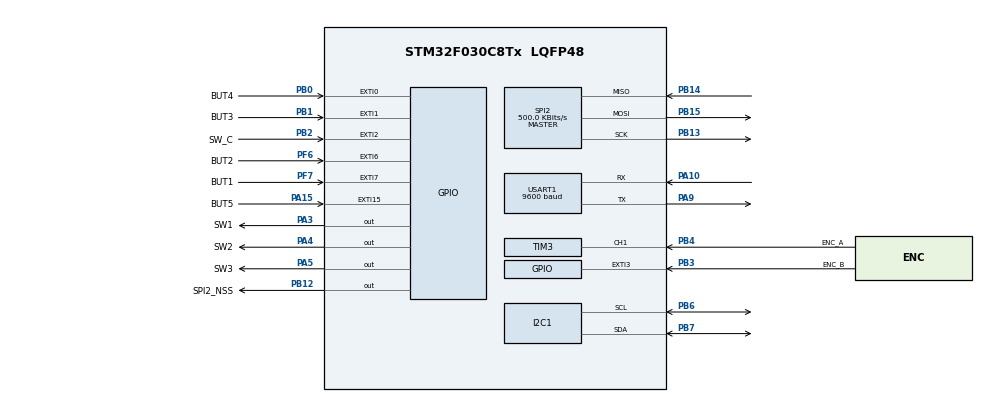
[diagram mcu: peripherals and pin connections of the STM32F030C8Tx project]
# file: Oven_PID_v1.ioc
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I2C1.I2C_Rise_Time=800
I2C1.Speed=50
I2C1.Timing=0x00801D76
Mcu.Family=STM32F0
Mcu.Name=STM32F030C8Tx
Mcu.Package=LQFP48
NVIC.EXTI0_1_IRQn=true\:0\:0\:false\:false\:true\:true\:true\:true
NVIC.EXTI2_3_IRQn=true\:0\:0\:false\:false\:true\:true\:true\:true
NVIC.EXTI4_15_IRQn=true\:0\:0\:false\:false\:true\:true\:true\:true
NVIC.RTC_IRQn=true\:0\:0\:false\:false\:true\:true\:true\:true
NVIC.TIM3_IRQn=true\:0\:0\:false\:false\:true\:true\:true\:true
NVIC.USART1_IRQn=true\:0\:0\:false\:false\:true\:true\:true\:true
PA10.Mode=Asynchronous
PA10.Signal=USART1_RX
PA13.Mode=Serial_Wire
PA13.Signal=SYS_SWDIO
PA14.Mode=Serial_Wire
PA14.Signal=SYS_SWCLK
PA15.GPIO_Label=BUT5
PA15.Signal=GPXTI15
PA3.GPIO_Label=SW1
PA3.Signal=GPIO_Output
PA4.GPIO_Label=SW2
PA4.Signal=GPIO_Output
PA5.GPIO_Label=SW3
PA5.Signal=GPIO_Output
PA9.Mode=Asynchronous
PA9.Signal=USART1_TX
PB0.GPIO_Label=BUT4
PB0.Signal=GPXTI0
PB1.GPIO_Label=BUT3
PB1.Signal=GPXTI1
PB12.GPIO_Label=SPI2_NSS
PB12.Signal=GPIO_Output
PB13.Mode=Full_Duplex_Master
PB13.Signal=SPI2_SCK
PB14.Mode=Full_Duplex_Master
PB14.Signal=SPI2_MISO
PB15.Mode=Full_Duplex_Master
PB15.Signal=SPI2_MOSI
PB2.GPIO_Label=SW_C
PB2.GPIO_ModeDefaultEXTI=GPIO_MODE_IT_RISING_FALLING
PB2.GPIO_PuPd=GPIO_PULLDOWN
PB2.Signal=GPXTI2
PB3.GPIO_Label=ENC_B
PB3.Signal=GPXTI3
PB4.GPIO_Label=ENC_A
PB4.Signal=S_TIM3_CH1
PB6.Mode=I2C
PB6.Signal=I2C1_SCL
PB7.Mode=I2C
PB7.Signal=I2C1_SDA
PC14-OSC32_IN.Mode=LSE-External-Oscillator
PC14-OSC32_IN.Signal=RCC_OSC32_IN
PC15-OSC32_OUT.Mode=LSE-External-Oscillator
PC15-OSC32_OUT.Signal=RCC_OSC32_OUT
PF6.GPIO_Label=BUT2
PF6.Signal=GPXTI6
PF7.GPIO_Label=BUT1
PF7.Signal=GPXTI7
ProjectManager.HeapSize=0x200
ProjectManager.StackSize=0x400
ProjectManager.TargetToolchain=CMake
RTC.Alarm-Alarm\ A=RTC_ALARM_A
RTC.AlarmMaskDateWeekDay-Alarm\ A=RTC_ALARMMASK_DATEWEEKDAY
RTC.AlarmMaskHours-Alarm\ A=RTC_ALARMMASK_HOURS
RTC.AlarmMaskMinutes-Alarm\ A=RTC_ALARMMASK_MINUTES
RTC.AlarmMaskSeconds-Alarm\ A=RTC_ALARMMASK_SECONDS
RTC.Format=RTC_FORMAT_BIN
RTC.Seconds_A-Alarm\ A=2
SH.S_TIM3_CH1.0=TIM3_CH1,Input_Capture1_from_TI1
SPI2.BaudRatePrescaler=SPI_BAUDRATEPRESCALER_16
SPI2.CalculateBaudRate=500.0 KBits/s
SPI2.DataSize=SPI_DATASIZE_8BIT
SPI2.Direction=SPI_DIRECTION_2LINES
SPI2.Mode=SPI_MODE_MASTER
SPI2.TIMode=SPI_TIMODE_DISABLE
SPI2.VirtualType=VM_MASTER
TIM3.Channel-Input_Capture1_from_TI1=TIM_CHANNEL_1
TIM3.CounterMode=TIM_COUNTERMODE_UP
TIM3.ICFilter_CH1=11
TIM3.ICPolarity_CH1=TIM_INPUTCHANNELPOLARITY_BOTHEDGE
USART1.AutoBaudRateEnableParam=UART_ADVFEATURE_AUTOBAUDRATE_DISABLE
USART1.BaudRate=9600
USART1.VirtualMode-Asynchronous=VM_ASYNC
VP_RTC_VS_RTC_Activate.Mode=RTC_Enabled
VP_RTC_VS_RTC_Alarm_A_Intern.Mode=Alarm A
VP_RTC_VS_RTC_Calendar.Mode=RTC_Calendar
board=custom

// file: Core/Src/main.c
/* USER CODE BEGIN Header */
/**
  ******************************************************************************
  * @file           : main.c
  * @brief          : Main program body
  ******************************************************************************
  * @attention
  *
  * Copyright (c) 2024 STMicroelectronics.
  * All rights reserved.
  *
  * This software is licensed under terms that can be found in the LICENSE file
  * in the root directory of this software component.
  * If no LICENSE file comes with this software, it is provided AS-IS.
  *
  ******************************************************************************
  */
/* USER CODE END Header */
#include "main.h"

/* USER CODE BEGIN Includes */
#include <stdio.h>
#include "log.h"
#include "MAX31855.h"
#include "heater.h"
#include "lcd1602_rgb.h"
#include "encoder.h"
#include "ui.h"
#include "event.h"
#include "pid.h"
#include "settings.h"
#include "programs.h"

/* USER CODE END Includes */

/* USER CODE BEGIN PD */
#define SW_C_DEBOUNCE_TIME 20

#define TEMPERATURE_READ_INTERVAL_SECONDS 0x1;
#define DISABLE_HEATER_DOOR_DETECTION
/* USER CODE END PD */

I2C_HandleTypeDef hi2c1;

RTC_HandleTypeDef hrtc;

SPI_HandleTypeDef hspi2;

TIM_HandleTypeDef htim3;

UART_HandleTypeDef huart1;

/* USER CODE BEGIN PV */

//for sw_c debouncer
uint32_t sw_c_last_interrupt_time = 0;
uint8_t sw_c_flag;

MAX31855_HandleTypeDef_t htemp;

LCD1602_RGB_HandleTypeDef_t hlcd;

Heater_HandleTypeDef_t hheater;

Encoder_HandleTypeDef_t hencoder;

Ui_HandleTypeDef_t hui;

GradientController_HandleTypeDef_t hgc;

TemperatureController_HandleTypeDef_t htc;

CoolingBrake_HandleTypeDef_t hcb;

Event_Queue_HandleTypeDef_t hevent_queue;

/* USER CODE END PV */

void SystemClock_Config(void);
static void MX_GPIO_Init(void);
static void MX_I2C1_Init(void);
static void MX_SPI2_Init(void);
static void MX_USART1_UART_Init(void);
static void MX_RTC_Init(void);
static void MX_TIM3_Init(void);

int main(void)
{

  /* MCU Configuration--------------------------------------------------------*/

  /* Reset of all peripherals, Initializes the Flash interface and the Systick. */
  HAL_Init();

  /* Configure the system clock */
  SystemClock_Config();

  /* Initialize all configured peripherals */
  MX_GPIO_Init();
  MX_I2C1_Init();
  MX_SPI2_Init();
  MX_USART1_UART_Init();
  MX_RTC_Init();
  MX_TIM3_Init();
  /* USER CODE BEGIN 2 */
  //Init log Feature
  initLog(&huart1);

  /* Initialize flash-backed settings and programs FIRST
   * Controllers will read from g_settings during their init */
  settings_init();   /* Load settings from flash or use defaults */
  programs_init();   /* Load programs from flash or use defaults */

  //init temperature
  max31855_init(&htemp,&hspi2);
  //init LCD
  //init Heater (reads SSR timing from g_settings)
  initHeater(&hheater,&htemp , SW1_GPIO_Port, SW1_Pin, SW2_GPIO_Port, SW2_Pin, SW3_GPIO_Port, SW3_Pin);
  //init Gradient Controller (inner loop) - reads params from g_settings
  GradientController_Init(&hgc);
  hheater.hgc = &hgc;
  //init Temperature Controller (outer loop) - reads params from g_settings
  TemperatureController_Init(&htc);
  hheater.htc = &htc;
  //init Cooling Brake Controller - reads params from g_settings
  CoolingBrake_Init(&hcb);
  hheater.hcb = &hcb;
  /* Cascaded control is disabled by default. To enable:
   * 1. Set temperature target: heater_set_temperature_target(&hheater, T_celsius, g_max_per_hour);
   *    - This sets up the outer loop and enables gradient control
   * 2. Or use heater_start_program() for program execution
   */
  lcd1602_init(&hlcd, &hi2c1, 16, 2);
  //init ui - reads programs from g_programs, settings from g_settings
  initUI(&hui,&hevent_queue, &hlcd);
  /* Note: ui_load_settings_from_controllers() is no longer needed
   * since initUI now reads directly from g_settings which was loaded
   * from flash at boot. Keeping call for backward compatibility. */
  ui_load_settings_from_controllers(&hui);
  //init encoder
  init_Encoder(&hencoder,&hevent_queue, ENC_A_GPIO_Port, ENC_A_Pin, ENC_B_GPIO_Port, ENC_B_Pin, BUT5_GPIO_Port,BUT5_Pin);
  //init event queue$
  initEvent(&hevent_queue);

  printf("Init complete\r\n");
  /* USER CODE END 2 */

  /* Infinite loop */
  /* USER CODE BEGIN WHILE */
  /* Test code removed - SSR windowing is now controlled via gradient/temperature controllers
   * To test heating, use heater_set_temperature_target() or heater_start_program()
   */

  while (1)
  {

//      RTC_TimeTypeDef sTime = {0};
//      RTC_DateTypeDef sDate = {0};
//
//      HAL_RTC_GetTime(&hrtc, &sTime, RTC_FORMAT_BIN);
//      HAL_RTC_GetDate(&hrtc, &sDate, RTC_FORMAT_BIN);
//
//      printf("Time Value: %d:%d:%d\r\n", sTime.Hours, sTime.Minutes, sTime.Seconds);
//      HAL_Delay(1235);

    /* USER CODE END WHILE */

  }
}

void SystemClock_Config(void)
{
  RCC_OscInitTypeDef RCC_OscInitStruct = {0};
  RCC_ClkInitTypeDef RCC_ClkInitStruct = {0};
  RCC_PeriphCLKInitTypeDef PeriphClkInit = {0};

  /** Initializes the RCC Oscillators according to the specified parameters
  * in the RCC_OscInitTypeDef structure.
  */
  RCC_OscInitStruct.OscillatorType = RCC_OSCILLATORTYPE_HSI|RCC_OSCILLATORTYPE_LSI;
  RCC_OscInitStruct.HSIState = RCC_HSI_ON;
  RCC_OscInitStruct.HSICalibrationValue = RCC_HSICALIBRATION_DEFAULT;
  RCC_OscInitStruct.LSIState = RCC_LSI_ON;
  RCC_OscInitStruct.PLL.PLLState = RCC_PLL_NONE;
  if (HAL_RCC_OscConfig(&RCC_OscInitStruct) != HAL_OK)
  {
    Error_Handler();
  }

  /** Initializes the CPU, AHB and APB buses clocks
  */
  RCC_ClkInitStruct.ClockType = RCC_CLOCKTYPE_HCLK|RCC_CLOCKTYPE_SYSCLK
                              |RCC_CLOCKTYPE_PCLK1;
  RCC_ClkInitStruct.SYSCLKSource = RCC_SYSCLKSOURCE_HSI;
  RCC_ClkInitStruct.AHBCLKDivider = RCC_SYSCLK_DIV1;
  RCC_ClkInitStruct.APB1CLKDivider = RCC_HCLK_DIV1;

  if (HAL_RCC_ClockConfig(&RCC_ClkInitStruct, FLASH_LATENCY_0) != HAL_OK)
  {
    Error_Handler();
  }
  PeriphClkInit.PeriphClockSelection = RCC_PERIPHCLK_USART1|RCC_PERIPHCLK_I2C1
                              |RCC_PERIPHCLK_RTC;
  PeriphClkInit.Usart1ClockSelection = RCC_USART1CLKSOURCE_PCLK1;
  PeriphClkInit.I2c1ClockSelection = RCC_I2C1CLKSOURCE_HSI;
  PeriphClkInit.RTCClockSelection = RCC_RTCCLKSOURCE_LSI;
  if (HAL_RCCEx_PeriphCLKConfig(&PeriphClkInit) != HAL_OK)
  {
    Error_Handler();
  }
}

static void MX_I2C1_Init(void)
{

  hi2c1.Instance = I2C1;
  hi2c1.Init.Timing = 0x00801D76;
  hi2c1.Init.OwnAddress1 = 0;
  hi2c1.Init.AddressingMode = I2C_ADDRESSINGMODE_7BIT;
  hi2c1.Init.DualAddressMode = I2C_DUALADDRESS_DISABLE;
  hi2c1.Init.OwnAddress2 = 0;
  hi2c1.Init.OwnAddress2Masks = I2C_OA2_NOMASK;
  hi2c1.Init.GeneralCallMode = I2C_GENERALCALL_DISABLE;
  hi2c1.Init.NoStretchMode = I2C_NOSTRETCH_DISABLE;
  if (HAL_I2C_Init(&hi2c1) != HAL_OK)
  {
    Error_Handler();
  }

  /** Configure Analogue filter
  */
  if (HAL_I2CEx_ConfigAnalogFilter(&hi2c1, I2C_ANALOGFILTER_ENABLE) != HAL_OK)
  {
    Error_Handler();
  }

  /** Configure Digital filter
  */
  if (HAL_I2CEx_ConfigDigitalFilter(&hi2c1, 0) != HAL_OK)
  {
    Error_Handler();
  }

}

static void MX_RTC_Init(void)
{

  RTC_TimeTypeDef sTime = {0};
  RTC_DateTypeDef sDate = {0};
  RTC_AlarmTypeDef sAlarm = {0};

  /** Initialize RTC Only
  */
  hrtc.Instance = RTC;
  hrtc.Init.HourFormat = RTC_HOURFORMAT_24;
  hrtc.Init.AsynchPrediv = 127;
  hrtc.Init.SynchPrediv = 255;
  hrtc.Init.OutPut = RTC_OUTPUT_DISABLE;
  hrtc.Init.OutPutPolarity = RTC_OUTPUT_POLARITY_HIGH;
  hrtc.Init.OutPutType = RTC_OUTPUT_TYPE_OPENDRAIN;
  if (HAL_RTC_Init(&hrtc) != HAL_OK)
  {
    Error_Handler();
  }

  /** Initialize RTC and set the Time and Date
  */
  sTime.Hours = 0;
  sTime.Minutes = 0;
  sTime.Seconds = 0;
  sTime.DayLightSaving = RTC_DAYLIGHTSAVING_NONE;
  sTime.StoreOperation = RTC_STOREOPERATION_RESET;
  if (HAL_RTC_SetTime(&hrtc, &sTime, RTC_FORMAT_BIN) != HAL_OK)
  {
    Error_Handler();
  }
  sDate.WeekDay = RTC_WEEKDAY_MONDAY;
  sDate.Month = RTC_MONTH_JANUARY;
  sDate.Date = 1;
  sDate.Year = 0;

  if (HAL_RTC_SetDate(&hrtc, &sDate, RTC_FORMAT_BIN) != HAL_OK)
  {
    Error_Handler();
  }

  /** Enable the Alarm A
  */
  sAlarm.AlarmTime.Hours = 0;
  sAlarm.AlarmTime.Minutes = 0;
  sAlarm.AlarmTime.Seconds = 2;
  sAlarm.AlarmTime.SubSeconds = 0;
  sAlarm.AlarmTime.DayLightSaving = RTC_DAYLIGHTSAVING_NONE;
  sAlarm.AlarmTime.StoreOperation = RTC_STOREOPERATION_RESET;
  sAlarm.AlarmMask = RTC_ALARMMASK_ALL;
  sAlarm.AlarmSubSecondMask = RTC_ALARMSUBSECONDMASK_ALL;
  sAlarm.AlarmDateWeekDaySel = RTC_ALARMDATEWEEKDAYSEL_DATE;
  sAlarm.AlarmDateWeekDay = 1;
  sAlarm.Alarm = RTC_ALARM_A;
  if (HAL_RTC_SetAlarm_IT(&hrtc, &sAlarm, RTC_FORMAT_BIN) != HAL_OK)
  {
    Error_Handler();
  }
  /* USER CODE BEGIN RTC_Init 2 */
  //TODO add TEMPERATURE_READ_INTERVAL_SECONDS above in sAlarm.AlarmTime.Seconds
  /* USER CODE END RTC_Init 2 */

}

static void MX_SPI2_Init(void)
{

  /* SPI2 parameter configuration*/
  hspi2.Instance = SPI2;
  hspi2.Init.Mode = SPI_MODE_MASTER;
  hspi2.Init.Direction = SPI_DIRECTION_2LINES;
  hspi2.Init.DataSize = SPI_DATASIZE_8BIT;
  hspi2.Init.CLKPolarity = SPI_POLARITY_LOW;
  hspi2.Init.CLKPhase = SPI_PHASE_1EDGE;
  hspi2.Init.NSS = SPI_NSS_SOFT;
  hspi2.Init.BaudRatePrescaler = SPI_BAUDRATEPRESCALER_16;
  hspi2.Init.FirstBit = SPI_FIRSTBIT_MSB;
  hspi2.Init.TIMode = SPI_TIMODE_DISABLE;
  hspi2.Init.CRCCalculation = SPI_CRCCALCULATION_DISABLE;
  hspi2.Init.CRCPolynomial = 7;
  hspi2.Init.CRCLength = SPI_CRC_LENGTH_DATASIZE;
  hspi2.Init.NSSPMode = SPI_NSS_PULSE_ENABLE;
  if (HAL_SPI_Init(&hspi2) != HAL_OK)
  {
    Error_Handler();
  }

}

static void MX_TIM3_Init(void)
{

  TIM_MasterConfigTypeDef sMasterConfig = {0};
  TIM_IC_InitTypeDef sConfigIC = {0};

  htim3.Instance = TIM3;
  htim3.Init.Prescaler = 0;
  htim3.Init.CounterMode = TIM_COUNTERMODE_UP;
  htim3.Init.Period = 65535;
  htim3.Init.ClockDivision = TIM_CLOCKDIVISION_DIV1;
  htim3.Init.AutoReloadPreload = TIM_AUTORELOAD_PRELOAD_DISABLE;
  if (HAL_TIM_IC_Init(&htim3) != HAL_OK)
  {
    Error_Handler();
  }
  sMasterConfig.MasterOutputTrigger = TIM_TRGO_RESET;
  sMasterConfig.MasterSlaveMode = TIM_MASTERSLAVEMODE_DISABLE;
  if (HAL_TIMEx_MasterConfigSynchronization(&htim3, &sMasterConfig) != HAL_OK)
  {
    Error_Handler();
  }
  sConfigIC.ICPolarity = TIM_INPUTCHANNELPOLARITY_BOTHEDGE;
  sConfigIC.ICSelection = TIM_ICSELECTION_DIRECTTI;
  sConfigIC.ICPrescaler = TIM_ICPSC_DIV1;
  sConfigIC.ICFilter = 11;
  if (HAL_TIM_IC_ConfigChannel(&htim3, &sConfigIC, TIM_CHANNEL_1) != HAL_OK)
  {
    Error_Handler();
  }
  /* USER CODE BEGIN TIM3_Init 2 */
  if (HAL_TIM_IC_Start_IT(&htim3, TIM_CHANNEL_1) != HAL_OK)
  {
      Error_Handler();  // Handle the error.
  }
  /* USER CODE END TIM3_Init 2 */

}

static void MX_USART1_UART_Init(void)
{

  huart1.Instance = USART1;
  huart1.Init.BaudRate = 9600;
  huart1.Init.WordLength = UART_WORDLENGTH_8B;
  huart1.Init.StopBits = UART_STOPBITS_1;
  huart1.Init.Parity = UART_PARITY_NONE;
  huart1.Init.Mode = UART_MODE_TX_RX;
  huart1.Init.HwFlowCtl = UART_HWCONTROL_NONE;
  huart1.Init.OverSampling = UART_OVERSAMPLING_16;
  huart1.Init.OneBitSampling = UART_ONE_BIT_SAMPLE_DISABLE;
  huart1.AdvancedInit.AdvFeatureInit = UART_ADVFEATURE_NO_INIT;
  if (HAL_UART_Init(&huart1) != HAL_OK)
  {
    Error_Handler();
  }

}

static void MX_GPIO_Init(void)
{
  GPIO_InitTypeDef GPIO_InitStruct = {0};

  /* GPIO Ports Clock Enable */
  __HAL_RCC_GPIOC_CLK_ENABLE();
  __HAL_RCC_GPIOA_CLK_ENABLE();
  __HAL_RCC_GPIOB_CLK_ENABLE();
  __HAL_RCC_GPIOF_CLK_ENABLE();

  /*Configure GPIO pin Output Level */
  HAL_GPIO_WritePin(GPIOA, SW1_Pin|SW2_Pin|SW3_Pin, GPIO_PIN_RESET);

  /*Configure GPIO pin Output Level */
  HAL_GPIO_WritePin(SPI2_NSS_GPIO_Port, SPI2_NSS_Pin, GPIO_PIN_RESET);

  /*Configure GPIO pins : SW1_Pin SW2_Pin SW3_Pin */
  GPIO_InitStruct.Pin = SW1_Pin|SW2_Pin|SW3_Pin;
  GPIO_InitStruct.Mode = GPIO_MODE_OUTPUT_PP;
  GPIO_InitStruct.Pull = GPIO_NOPULL;
  GPIO_InitStruct.Speed = GPIO_SPEED_FREQ_LOW;
  HAL_GPIO_Init(GPIOA, &GPIO_InitStruct);

  /*Configure GPIO pins : BUT4_Pin BUT3_Pin ENC_B_Pin */
  GPIO_InitStruct.Pin = BUT4_Pin|BUT3_Pin|ENC_B_Pin;
  GPIO_InitStruct.Mode = GPIO_MODE_IT_RISING;
  GPIO_InitStruct.Pull = GPIO_NOPULL;
  HAL_GPIO_Init(GPIOB, &GPIO_InitStruct);

  /*Configure GPIO pin : SW_C_Pin */
  GPIO_InitStruct.Pin = SW_C_Pin;
  GPIO_InitStruct.Mode = GPIO_MODE_IT_RISING_FALLING;
  GPIO_InitStruct.Pull = GPIO_PULLDOWN;
  HAL_GPIO_Init(SW_C_GPIO_Port, &GPIO_InitStruct);

  /*Configure GPIO pin : SPI2_NSS_Pin */
  GPIO_InitStruct.Pin = SPI2_NSS_Pin;
  GPIO_InitStruct.Mode = GPIO_MODE_OUTPUT_PP;
  GPIO_InitStruct.Pull = GPIO_NOPULL;
  GPIO_InitStruct.Speed = GPIO_SPEED_FREQ_LOW;
  HAL_GPIO_Init(SPI2_NSS_GPIO_Port, &GPIO_InitStruct);

  /*Configure GPIO pins : BUT2_Pin BUT1_Pin */
  GPIO_InitStruct.Pin = BUT2_Pin|BUT1_Pin;
  GPIO_InitStruct.Mode = GPIO_MODE_IT_RISING;
  GPIO_InitStruct.Pull = GPIO_NOPULL;
  HAL_GPIO_Init(GPIOF, &GPIO_InitStruct);

  /*Configure GPIO pin : BUT5_Pin */
  GPIO_InitStruct.Pin = BUT5_Pin;
  GPIO_InitStruct.Mode = GPIO_MODE_IT_RISING;
  GPIO_InitStruct.Pull = GPIO_NOPULL;
  HAL_GPIO_Init(BUT5_GPIO_Port, &GPIO_InitStruct);

  /* EXTI interrupt init*/
  HAL_NVIC_SetPriority(EXTI0_1_IRQn, 0, 0);
  HAL_NVIC_EnableIRQ(EXTI0_1_IRQn);

  HAL_NVIC_SetPriority(EXTI2_3_IRQn, 0, 0);
  HAL_NVIC_EnableIRQ(EXTI2_3_IRQn);

  HAL_NVIC_SetPriority(EXTI4_15_IRQn, 0, 0);
  HAL_NVIC_EnableIRQ(EXTI4_15_IRQn);

}

/* USER CODE BEGIN 4 */
void HAL_RTC_AlarmAEventCallback(RTC_HandleTypeDef *hrtc)
{

    heater_on_interupt(&hheater, hrtc);
}
uint8_t counter = 0;
void HAL_TIM_IC_CaptureCallback(TIM_HandleTypeDef* htim){
    encoder_callback(&hencoder, 0xff);
}

void HAL_GPIO_EXTI_Callback(uint16_t GPIO_Pin)
{
    //NOTE: All pins are different Pin but also different Ports
    switch (GPIO_Pin) {
        case BUT1_Pin:
            event_enqueue(&hevent_queue, BUT1);
            //printf("BUT1 pressed\r\n");
            break;
        case BUT2_Pin:
            event_enqueue(&hevent_queue, BUT2);
            //printf("BUT2 pressed\r\n");
            break;
        case BUT3_Pin:
            event_enqueue(&hevent_queue, BUT3);
            //printf("BUT3 pressed\r\n");
            break;
        case BUT4_Pin:
            event_enqueue(&hevent_queue, BUT4);
            //printf("BUT4 pressed\r\n");
            break;
        case BUT5_Pin:
            //printf("BUT5 pressed\r\n");
            encoder_callback(&hencoder, BUT5_Pin);
            break;
        case ENC_A_Pin:
            encoder_callback(&hencoder, ENC_A_Pin);
            break;
        case ENC_B_Pin:
            encoder_callback(&hencoder, ENC_B_Pin);
            break;
        case SW_C_Pin:
#ifndef DISABLE_HEATER_DOOR_DETECTION
            uint32_t cur_time = HAL_GetTick();
            // Rising edge detected
            if (HAL_GPIO_ReadPin(SW_C_GPIO_Port, SW_C_Pin) == GPIO_PIN_SET) {
                //debounce
                if (!sw_c_flag && cur_time >= sw_c_last_interrupt_time + SW_C_DEBOUNCE_TIME)
                {
                    sw_c_last_interrupt_time = cur_time;
                    sw_c_flag = 1;
                    heater.flag_door_open = 0;
                    /* SSR windowing checks flag_door_open every update (1s) */
                }
            }
            // Falling edge detected
            else
            {
                //debounce
                if (sw_c_flag && cur_time >= sw_c_last_interrupt_time+SW_C_DEBOUNCE_TIME)
                {
                    sw_c_last_interrupt_time = cur_time;
                    sw_c_flag = 0;
                    heater.flag_door_open = 1;
                    /* SSR windowing checks flag_door_open every update (1s) */
                }
            }
#endif
            break;
        default:
            break;
    }
}
/* USER CODE END 4 */

void Error_Handler(void)
{
  __disable_irq();
  while (1)
  {
  }
}
